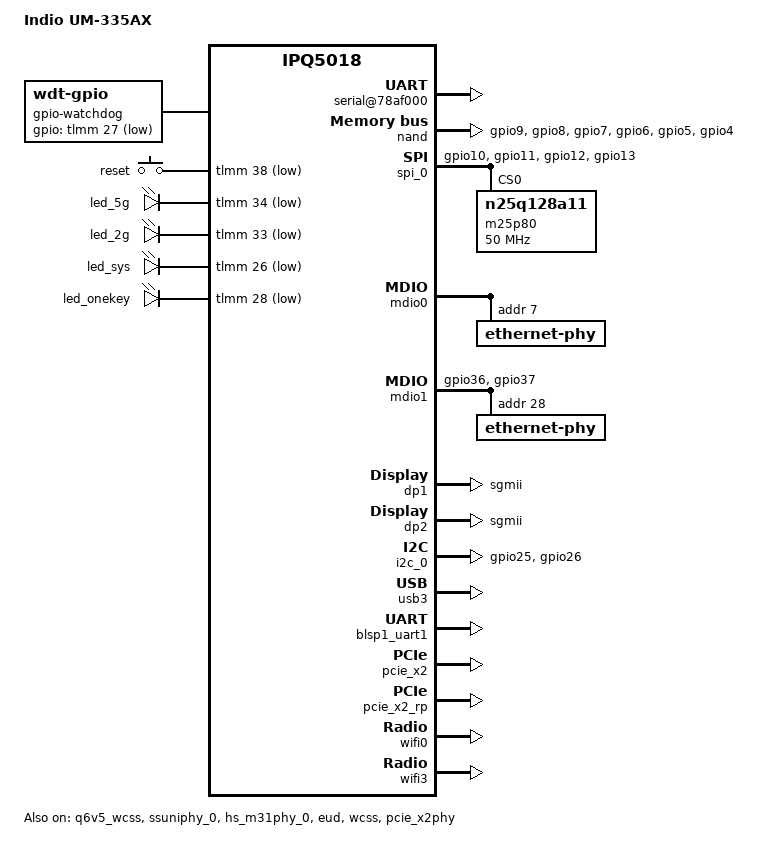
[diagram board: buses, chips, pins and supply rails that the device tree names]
/dts-v1/;
/* Copyright (c) 2018-2020, The Linux Foundation. All rights reserved.
 * Copyright (c) 2025, Shubham Vishwakarma <shubhamvis98@fossfrog.in>.
 *
 * Permission to use, copy, modify, and/or distribute this software for any
 * purpose with or without fee is hereby granted, provided that the above
 * copyright notice and this permission notice appear in all copies.
 *
 * THE SOFTWARE IS PROVIDED "AS IS" AND THE AUTHOR DISCLAIMS ALL WARRANTIES
 * WITH REGARD TO THIS SOFTWARE INCLUDING ALL IMPLIED WARRANTIES OF
 * MERCHANTABILITY AND FITNESS. IN NO EVENT SHALL THE AUTHOR BE LIABLE FOR
 * ANY SPECIAL, DIRECT, INDIRECT, OR CONSEQUENTIAL DAMAGES OR ANY DAMAGES
 * WHATSOEVER RESULTING FROM LOSS OF USE, DATA OR PROFITS, WHETHER IN AN
 * ACTION OF CONTRACT, NEGLIGENCE OR OTHER TORTIOUS ACTION, ARISING OUT OF
 * OR IN CONNECTION WITH THE USE OR PERFORMANCE OF THIS SOFTWARE.
 */

#include "ipq5018.dtsi"
#include <dt-bindings/input/input.h>

/ {
	#address-cells = <0x2>;
	#size-cells = <0x2>;
	model = "Indio UM-335AX";
	compatible = "indio,um-335ax", "qcom,ipq5018-ap-mp03.1", "qcom,ipq5018-mp03.1", "qcom,ipq5018";
	interrupt-parent = <&intc>;

	aliases {
		sdhc1 = &sdhc_1; /* SDC1 eMMC slot */
		serial0 = &blsp1_uart1;
		serial1 = &blsp1_uart2;
		ethernet0 = "/soc/dp1";
		ethernet1 = "/soc/dp2";
		led-boot = &led_red;
		led-failsafe = &led_red;
		led-running = &led_red;
		led-upgrade = &led_red;

	};

	chosen {
		bootargs = "console=ttyMSM0,115200,n8 rw init=/init";
		bootargs-append = " swiotlb=1 coherent_pool=2M";
		stdout-path = "serial0";
	};

	gpio-watchdog {
		compatible = "linux,wdt-gpio";
		gpios = <&tlmm 27 GPIO_ACTIVE_LOW>;
		hw_algo = "toggle";
		hw_margin_ms = <5000>;
		always-running;
	};

	reserved-memory {
		q6_mem_regions: q6_mem_regions@4B000000 {
			no-map;
			reg = <0x0 0x4B000000 0x0 0x1800000>;
		};

		q6_ipq5018_data: q6_ipq5018_data@4C400000 {
			no-map;
			reg = <0x0 0x4C400000 0x0 0xE00000>;
		};

		m3_dump: m3_dump@4C800000 {
			no-map;
			reg = <0x0 0x4C800000 0x0 0x100000>;
		};

		q6_etr_region: q6_etr_dump@4C900000 {
			no-map;
			reg = <0x0 0x4C900000 0x0 0x100000>;
		};

		q6_caldb_region: q6_caldb_region@4CA00000 {
			no-map;
			reg = <0x0 0x4CA00000 0x0 0x200000>;
		};

		qcn9000_pcie0: qcn9000_pcie0@4cc00000 {
			no-map;
			reg = <0x0 0x4CC00000 0x0 0x2600000>;
		};

	#if defined(__CNSS2__)
		mhi_region1: dma_pool1@4F200000 {
			compatible = "shared-dma-pool";
			no-map;
			reg = <0x0 0x4F200000 0x0 0x900000>;
		};
	#endif
	};

	soc {
		serial@78af000 {
			status = "ok";
		};

		blsp1_uart2: serial@78b0000 {
			pinctrl-0 = <&blsp1_uart_pins>;
			pinctrl-names = "default";
		};

		qpic_bam: dma@7984000{
			status = "ok";
		};

		nand: qpic-nand@79b0000 {
			pinctrl-0 = <&qspi_nand_pins>;
			pinctrl-names = "default";
			status = "ok";
		};

		spi_0: spi@78b5000 { /* BLSP1 QUP0 */
			pinctrl-0 = <&blsp0_spi_pins>;
			pinctrl-names = "default";
			cs-select = <0>;
			status = "ok";

			m25p80@0 {
				#address-cells = <1>;
				#size-cells = <1>;
				reg = <0>;
				compatible = "n25q128a11";
				linux,modalias = "m25p80", "n25q128a11";
				spi-max-frequency = <50000000>;
				use-default-sizes;
			};
		};

		mdio0: mdio@88000 {
			status = "ok";

			ethernet-phy@0 {
				reg = <7>;
			};
		};

		mdio1: mdio@90000 {
			status = "ok";
			pinctrl-0 = <&mdio1_pins>;
			pinctrl-names = "default";
			phy-reset-gpio = <&tlmm 39 0>;

			ethernet-phy@0 {
				reg = <28>;
			};
		};

		ess-instance {
			num_devices = <0x1>;
			ess-switch@0x39c00000 {
				switch_mac_mode = <0xf>; /* mac mode for uniphy instance*/
				cmnblk_clk = "internal_96MHz"; /* cmnblk clk*/
				qcom,port_phyinfo {
					port@0 {
						port_id = <1>;
						phy_address = <7>;
						mdiobus = <&mdio0>;
					};
					port@1 {
						port_id = <2>;
						phy_address = <0x1c>;
						mdiobus = <&mdio1>;
						port_mac_sel = "QGMAC_PORT";
					};
				};
				led_source@0 {
					source = <0>;
					mode = "normal";
					speed = "all";
					blink_en = "enable";
					active = "high";
				};
			};
				ess-switch1@1 {
				compatible = "qcom,ess-switch-qca83xx";
				device_id = <1>;
				switch_access_mode = "mdio";
				mdio-bus = <&mdio1>;
				reset_gpio = <0x28>;
				switch_cpu_bmp = <0x40>;  /* cpu port bitmap */
				switch_lan_bmp = <0x1e>; /* lan port bitmap */
				switch_wan_bmp = <0x0>;  /* wan port bitmap */
				qca,ar8327-initvals = <
						0x00004 0x7600000   /* PAD0_MODE */
						0x00008 0x1000000   /* PAD5_MODE */
						0x0000c 0x80        /* PAD6_MODE */
						0x00010 0x2613a0    /* PORT6 FORCE MODE*/
						0x000e4 0xaa545     /* MAC_POWER_SEL */
						0x000e0 0xc74164de  /* SGMII_CTRL */
						0x0007c 0x4e        /* PORT0_STATUS */
						0x00094 0x4e        /* PORT6_STATUS */
				>;
				qcom,port_phyinfo {
					port@0 {
						port_id = <1>;
						phy_address = <28>;
					};
				};
			};
		};

		dp1 {
			device_type = "network";
			compatible = "qcom,nss-dp";
			clocks = <&gcc GCC_SNOC_GMAC0_AXI_CLK>;
			clock-names = "nss-snoc-gmac-axi-clk";
			qcom,id = <1>;
			reg = <0x39C00000 0x10000>;
			interrupts = <GIC_SPI 101 IRQ_TYPE_LEVEL_HIGH>;
			qcom,mactype = <2>;
			qcom,link-poll = <1>;
			qcom,phy-mdio-addr = <7>;
			mdio-bus = <&mdio0>;
			local-mac-address = [000000000000];
			phy-mode = "sgmii";
		};

		dp2 {
			device_type = "network";
			compatible = "qcom,nss-dp";
			clocks = <&gcc GCC_SNOC_GMAC1_AXI_CLK>;
			clock-names = "nss-snoc-gmac-axi-clk";
			qcom,id = <2>;
			reg = <0x39D00000 0x10000>;
			interrupts = <GIC_SPI 109 IRQ_TYPE_LEVEL_HIGH>;
			qcom,mactype = <2>;
			qcom,link-poll = <1>;
			qcom,phy-mdio-addr = <28>;
			mdio-bus = <&mdio1>;
			local-mac-address = [000000000000];
			phy-mode = "sgmii";
		};

		qcom,test@0 {
			status = "ok";
		};

		nss-macsec1 {
			compatible = "qcom,nss-macsec";
			phy_addr = <0x1c>;
			mdiobus = <&mdio1>;
		};

		lpass: lpass@0xA000000{
			status = "disabled";
		};

		pcm: pcm@0xA3C0000{
			pinctrl-0 = <&audio_pins>;
			pinctrl-names = "default";
			status = "disabled";
		};

		pcm_lb: pcm_lb@0 {
			status = "disabled";
		};
	};

	thermal-zones {
		status = "ok";
	};

};

&tlmm {
	pinctrl-0 = <&blsp0_uart_pins &phy_led_pins>;
	pinctrl-names = "default";

	blsp0_uart_pins: uart_pins {
		blsp0_uart_rx_tx {
			pins = "gpio20", "gpio21";
			function = "blsp0_uart0";
			bias-disable;
		};
	};

	blsp1_uart_pins: blsp1_uart_pins {
		blsp1_uart_rx_tx {
			pins = "gpio22", "gpio24", "gpio23", "gpio25";
			function = "blsp1_uart2";
			bias-disable;
		};
	};

	blsp0_spi_pins: blsp0_spi_pins {
		mux {
			pins = "gpio10", "gpio11", "gpio12", "gpio13";
			function = "blsp0_spi";
			drive-strength = <2>;
			bias-disable;
		};
	};

	qspi_nand_pins: qspi_nand_pins {
		qspi_clock {
			pins = "gpio9";
			function = "qspi_clk";
			drive-strength = <8>;
			bias-disable;
		};
		qspi_cs {
			pins = "gpio8";
			function = "qspi_cs";
			drive-strength = <8>;
			bias-disable;
		};
		qspi_data_0 {
			pins = "gpio7";
			function = "qspi0";
			drive-strength = <8>;
			bias-disable;
		};
		qspi_data_1 {
			pins = "gpio6";
			function = "qspi1";
			drive-strength = <8>;
			bias-disable;
		};
		qspi_data_2 {
			pins = "gpio5";
			function = "qspi2";
			drive-strength = <8>;
			bias-disable;
		};
		qspi_data_3 {
			pins = "gpio4";
			function = "qspi3";
			drive-strength = <8>;
			bias-disable;
		};
	};

	mdio1_pins: mdio_pinmux {
		mux_0 {
			pins = "gpio36";
			function = "mdc";
			drive-strength = <8>;
			bias-pull-up;
		};

		mux_1 {
			pins = "gpio37";
			function = "mdio";
			drive-strength = <8>;
			bias-pull-up;
		};
	};

	phy_led_pins: phy_led_pins {
		gephy_led_pin {
			pins = "gpio46";
			function = "led0";
			drive-strength = <8>;
			bias-pull-down;
		};
	};

	i2c_pins: i2c_pins {
		i2c_scl {
			pins = "gpio25";
			function = "blsp2_i2c1";
			drive-strength = <8>;
			bias-disable;
		};

		i2c_sda {
			pins = "gpio26";
			function = "blsp2_i2c1";
			drive-strength = <8>;
			bias-disable;
		};
	};

	button_pins: button_pins {
		reset_button {
			pins = "gpio38";
			function = "gpio";
			drive-strength = <8>;
			bias-pull-up;
		};
	};

	audio_pins: audio_pinmux {
	};

	leds_pins: leds_pins {
		led_blue: led_5g {
			label = "led_5g";
			pins = "gpio34";
			function = "gpio";
			drive-strength = <8>;
			bias-pull-down;
		};

		led_green: led_2g {
			label = "led_2g";
			pins = "gpio33";
			function = "gpio";
			drive-strength = <8>;
			bias-pull-down;
		};

		led_red: led_sys {
			label = "led_sys";
			pins = "gpio26";
			function = "gpio";
			drive-strength = <8>;
			bias-pull-down;
		};

		led_onekey {
			pins = "gpio28";
			function = "gpio";
			drive-strength = <8>;
			bias-pull-down;
		};
	};
};

&soc {
	gpio_keys {
		compatible = "gpio-keys";
		pinctrl-0 = <&button_pins>;
		pinctrl-names = "default";

		button@1 {
			label = "reset";
			linux,code = <KEY_RESTART>;
			gpios = <&tlmm 38 GPIO_ACTIVE_LOW>;
			linux,input-type = <1>;
			debounce-interval = <60>;
		};
	};

	leds {
		compatible = "gpio-leds";
		pinctrl-0 = <&leds_pins>;
		pinctrl-names = "default";

		led@33 {
			label = "led_5g";
			gpios = <&tlmm 34 GPIO_ACTIVE_LOW>;
			linux,default-trigger = "led_5g";
			default-state = "off";
		};
		led@34 {
			label = "led_2g";
			gpios = <&tlmm 33 GPIO_ACTIVE_LOW>;
			linux,default-trigger = "led_2g";
			default-state = "off";
		};
		led@26 {
			label = "led_sys";
			gpios = <&tlmm 26 GPIO_ACTIVE_LOW>;
			linux,default-trigger = "led_sys";
			default-state = "on";
		};
		led@28 {
			label = "led_onekey";
			gpios = <&tlmm 28 GPIO_ACTIVE_LOW>;
			linux,default-trigger = "led_onekey";
			default-state = "off";
		};
	};
};

&q6v5_wcss {
	compatible = "qcom,ipq5018-q6-mpd";
	#address-cells = <1>;
	#size-cells = <1>;
	ranges;
	firmware = "IPQ5018/q6_fw.mdt";
	reg = <0x0cd00000 0x4040>,
		<0x1938000 0x8>,
		<0x193d204 0x4>;
	reg-names = "qdsp6",
			"tcsr-msip",
			"tcsr-q6";
	resets = <&gcc GCC_WCSSAON_RESET>,
			<&gcc GCC_WCSS_Q6_BCR>;

	reset-names = "wcss_aon_reset",
			"wcss_q6_reset";

	clocks = <&gcc GCC_Q6_AXIS_CLK>,
		<&gcc GCC_WCSS_ECAHB_CLK>,
		<&gcc GCC_Q6_AXIM_CLK>,
		<&gcc GCC_Q6_AXIM2_CLK>,
		<&gcc GCC_Q6_AHB_CLK>,
		<&gcc GCC_Q6_AHB_S_CLK>,
		<&gcc GCC_WCSS_AXI_S_CLK>;
	clock-names = "gcc_q6_axis_clk",
		"gcc_wcss_ecahb_clk",
		"gcc_q6_axim_clk",
		"gcc_q6_axim2_clk",
		"gcc_q6_ahb_clk",
		"gcc_q6_ahb_s_clk",
		"gcc_wcss_axi_s_clk";

	memory-region = <&q6_mem_regions>, <&q6_etr_region>,
			<&q6_caldb_region>;

	qcom,rproc = <&q6v5_wcss>;
	qcom,bootargs_smem = <507>;
	boot-args = <0x1 0x4 0x3 0x0F 0x0 0x0>,
			<0x2 0x4 0x2 0x12 0x0 0x0>;
	status = "ok";
	q6_wcss_pd1: remoteproc_pd1@4ab000 {
		compatible = "qcom,ipq5018-wcss-ahb-mpd";
		reg = <0x4ab000 0x20>;
		reg-names = "rmb";
		firmware = "IPQ5018/q6_fw.mdt";
		m3_firmware = "IPQ5018/m3_fw.mdt";
		interrupts-extended = <&wcss_smp2p_in 8 0>,
					<&wcss_smp2p_in 9 0>,
					<&wcss_smp2p_in 12 0>,
					<&wcss_smp2p_in 11 0>;
		interrupt-names = "fatal",
					"ready",
					"spawn-ack",
					"stop-ack";

		resets = <&gcc GCC_WCSSAON_RESET>,
				<&gcc GCC_WCSS_BCR>,
				<&gcc GCC_CE_BCR>;
		reset-names = "wcss_aon_reset",
				"wcss_reset",
				"ce_reset";

		clocks = <&gcc GCC_WCSS_AHB_S_CLK>,
				<&gcc GCC_WCSS_ACMT_CLK>,
				<&gcc GCC_WCSS_AXI_M_CLK>;
		clock-names = "gcc_wcss_ahb_s_clk",
					"gcc_wcss_acmt_clk",
					"gcc_wcss_axi_m_clk";

		qcom,halt-regs = <&tcsr_q6_block 0xa000 0xd000 0x0>;

		qcom,smem-states = <&wcss_smp2p_out 8>,
					<&wcss_smp2p_out 9>,
					<&wcss_smp2p_out 10>;
		qcom,smem-state-names = "shutdown",
					"stop",
					"spawn";
		memory-region = <&q6_ipq5018_data>, <&m3_dump>,
				<&q6_etr_region>, <&q6_caldb_region>;
	};
};

&i2c_0 {
	pinctrl-0 = <&i2c_pins>;
	pinctrl-names = "default";
	// status = "disabled";
};

&usb3 {
	status = "ok";
	device-power-gpio = <&tlmm 24 1>;
};

&dwc_0 {
	/delete-property/ #phy-cells;
	/delete-property/ phys;
	/delete-property/ phy-names;
};

&blsp1_uart1 {
	status = "ok";
};

&ssuniphy_0 {
	status = "ok";
};

&hs_m31phy_0 {
	status = "ok";
};

&eud {
	status = "ok";
};

&pcie_x1 {
	perst-gpio = <&tlmm 18 GPIO_ACTIVE_LOW>;
};

&pcie_x2 {
	status = "ok";
	perst-gpio = <&tlmm 15 GPIO_ACTIVE_LOW>;
};

&wcss {
	status = "ok";
};

&pcie_x2phy {
	status = "ok";
};

&pcie_x1_rp {
	status = "disabled";

	mhi_0: qcom,mhi@0 {
		reg = <0 0 0 0 0 >;
	};
};

&pcie_x2_rp {
	status = "ok";

	mhi_1: qcom,mhi@1 {
		reg = <0 0 0 0 0 >;
		qrtr_instance_id = <0x20>;
		qti,disable-rddm-prealloc;
		qti,rddm-seg-len = <0x1000>;
		#address-cells = <0x2>;
		#size-cells = <0x2>;
#if defined(__CNSS2__)
		memory-region = <0>,<&mhi_region1>;
#else
		base-addr = <0x4CB00000>;
		m3-dump-addr = <0x4DF00000>;
		etr-addr = <0x4E000000>;
		qcom,caldb-addr = <0x4E100000>;
		pageable-addr = <0x4E900000>;
		qcom,tgt-mem-mode = <0x1>;
#endif
	};
};

&wifi0 {
	/* IPQ5018 */
	qcom,multipd_arch;
	qcom,rproc = <&q6_wcss_pd1>;
	qcom,userpd-subsys-name = "q6v5_wcss_userpd1";
	qcom,tgt-mem-mode = <1>;
	qcom,board_id = <0x24>;
#ifdef __CNSS2__
	qcom,bdf-addr = <0x4C400000 0x4C400000 0x4C400000 0x0 0x0>;
	qcom,caldb-addr = <0x4D400000 0x4D400000 0 0 0>;
	qcom,caldb-size = <0x200000>;
	mem-region = <&q6_ipq5018_data>;
#else
	memory-region = <&q6_ipq5018_data>;
#endif
	status = "ok";
};

&wifi3 {
	/* QCN9000 5G */
	board_id = <0xa0>;
	hremote_node = <&qcn9000_pcie0>;
#ifdef __IPQ_MEM_PROFILE_256_MB__
	/* QCN9000 tgt-mem-mode=2 layout - 17MB
	 * +=========+==============+=========+
	 * |  Region | Start Offset |   Size  |
	 * +---------+--------------+---------+
	 * | HREMOTE |  0x4C900000  |   11MB  |
	 * +---------+--------------+---------+
	 * | M3 Dump |  0x4D400000  |   1MB   |
	 * +---------+--------------+---------+
	 * |   ETR   |  0x4D500000  |   1MB   |
	 * +---------+--------------+---------+
	 * | Pageable|  0x4D600000  |   4MB   |
	 * +==================================+
	 */
	base-addr = <0x4C900000>;
	m3-dump-addr = <0x4D400000>;
	etr-addr = <0x4D500000>;
	caldb-addr = <0>;
	pageable-addr = <0x4D600000>;
	caldb-size = <0>;
	hremote-size = <0xB00000>;
	tgt-mem-mode = <0x2>;
	pageable-size = <0x400000>;
#elif __IPQ_MEM_PROFILE_512_MB__
	/* QCN9000 tgt-mem-mode=1 layout - 26MB
	 * +=========+==============+=========+
	 * |  Region | Start Offset |   Size  |
	 * +---------+--------------+---------+
	 * | HREMOTE |  0x4CB00000  |   12MB  |
	 * +---------+--------------+---------+
	 * | M3 Dump |  0x4D700000  |   1MB   |
	 * +---------+--------------+---------+
	 * |   ETR   |  0x4D800000  |   1MB   |
	 * +---------+--------------+---------+
	 * |  Caldb  |  0x4D900000  |   8MB   |
	 * +---------+--------------+---------+
	 * | Pageable|  0x4E100000  |   4MB   |
	 * +==================================+
	 */
	base-addr = <0x4CB00000>;
	m3-dump-addr = <0x4D700000>;
	etr-addr = <0x4D800000>;
	caldb-addr = <0x4D900000>;
	pageable-addr = <0x4E100000>;
	caldb-size = <0x800000>;
	hremote-size = <0xC00000>;
	tgt-mem-mode = <0x1>;
	pageable-size = <0x400000>;
#else
	/* QCN9000 tgt-mem-mode=0 layout - 53MB
	 * +=========+==============+=========+
	 * |  Region | Start Offset |   Size  |
	 * +---------+--------------+---------+
	 * | HREMOTE |  0x4CB00000  |   35MB  |
	 * +---------+--------------+---------+
	 * | M3 Dump |  0x4EE00000  |   1MB   |
	 * +---------+--------------+---------+
	 * |   ETR   |  0x4EF00000  |   1MB   |
	 * +---------+--------------+---------+
	 * |  Caldb  |  0x4F000000  |   8MB   |
	 * +---------+--------------+---------+
	 * | Pageable|  0x4F800000  |   8MB   |
	 * +==================================+
	 */
	base-addr = <0x4CB00000>;
	m3-dump-addr = <0x4EE00000>;
	etr-addr = <0x4EF00000>;
	caldb-addr = <0x4F000000>;
	pageable-addr = <0x4F800000>;
	hremote-size = <0x2300000>;
	caldb-size = <0x800000>;
	tgt-mem-mode = <0x0>;
	pageable-size = <0x800000>;
#endif
	status = "ok";
};
